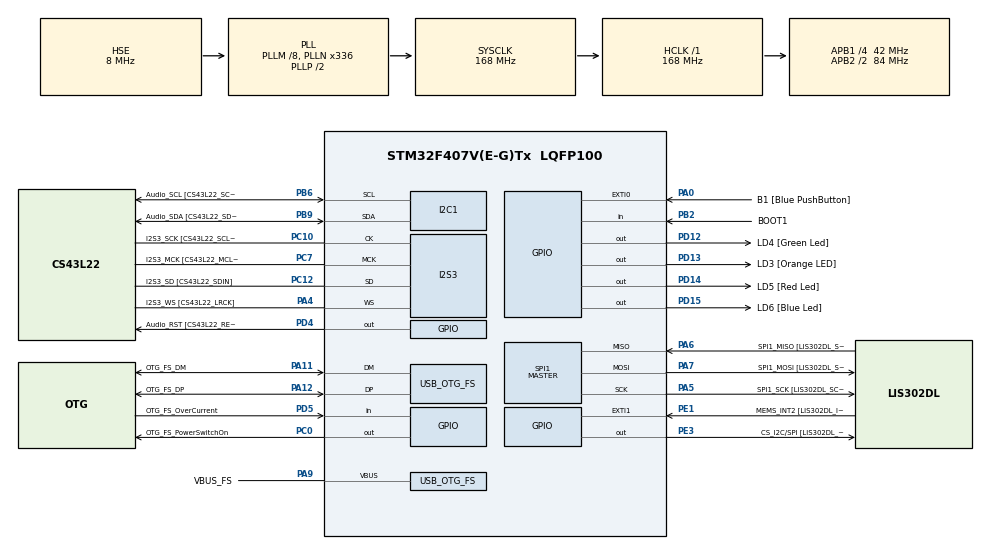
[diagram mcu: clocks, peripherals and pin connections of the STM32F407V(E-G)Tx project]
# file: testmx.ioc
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I2S3.AudioFreq-Half_Duplex_Master=I2S_AUDIOFREQ_96K
I2S3.ErrorAudioFreq=-2.34 %
I2S3.ErrorAudioFreq-Half_Duplex_Master=0.8 %
I2S3.FullDuplexMode=I2S_FULLDUPLEXMODE_DISABLE
I2S3.Instance=SPI$Index
I2S3.RealAudioFreq=93.75 KHz
I2S3.RealAudioFreq-Half_Duplex_Master=96.774 KHz
I2S3.VirtualMode=I2S_MODE_MASTER
Mcu.Family=STM32F4
Mcu.Name=STM32F407V(E-G)Tx
Mcu.Package=LQFP100
NVIC.OTG_FS_IRQn=true\:0\:0\:false\:false\:true\:true
NVIC.PriorityGroup=NVIC_PRIORITYGROUP_0
PA0-WKUP.GPIO_Label=B1 [Blue PushButton]
PA0-WKUP.GPIO_ModeDefaultEXTI=GPIO_MODE_EVT_RISING
PA0-WKUP.GPIO_PuPd=GPIO_NOPULL
PA0-WKUP.Signal=GPXTI0
PA10.GPIO_Label=OTG_FS_ID
PA10.GPIO_Mode=GPIO_MODE_AF_PP
PA10.GPIO_PuPd=GPIO_NOPULL
PA10.GPIO_Speed=GPIO_SPEED_FREQ_LOW
PA10.Signal=USB_OTG_FS_ID
PA11.GPIO_Label=OTG_FS_DM
PA11.GPIO_Mode=GPIO_MODE_AF_PP
PA11.GPIO_PuPd=GPIO_NOPULL
PA11.GPIO_Speed=GPIO_SPEED_FREQ_LOW
PA11.Mode=Device_Only
PA11.Signal=USB_OTG_FS_DM
PA12.GPIO_Label=OTG_FS_DP
PA12.GPIO_Mode=GPIO_MODE_AF_PP
PA12.GPIO_PuPd=GPIO_NOPULL
PA12.GPIO_Speed=GPIO_SPEED_FREQ_LOW
PA12.Mode=Device_Only
PA12.Signal=USB_OTG_FS_DP
PA13.GPIO_Label=SWDIO
PA13.Mode=Serial_Wire
PA13.Signal=SYS_JTMS-SWDIO
PA14.GPIO_Label=SWCLK
PA14.Mode=Serial_Wire
PA14.Signal=SYS_JTCK-SWCLK
PA4.GPIO_Label=I2S3_WS [CS43L22_LRCK]
PA4.GPIO_Mode=GPIO_MODE_AF_PP
PA4.GPIO_PuPd=GPIO_NOPULL
PA4.GPIO_Speed=GPIO_SPEED_FREQ_LOW
PA4.Mode=Half_Duplex_Master
PA4.Signal=I2S3_WS
PA5.GPIO_Label=SPI1_SCK [LIS302DL_SCL/SPC]
PA5.GPIO_Mode=GPIO_MODE_AF_PP
PA5.GPIO_PuPd=GPIO_NOPULL
PA5.GPIO_Speed=GPIO_SPEED_FREQ_LOW
PA5.Mode=Full_Duplex_Master
PA5.Signal=SPI1_SCK
PA6.GPIO_Label=SPI1_MISO [LIS302DL_SDO]
PA6.GPIO_Mode=GPIO_MODE_AF_PP
PA6.GPIO_PuPd=GPIO_NOPULL
PA6.GPIO_Speed=GPIO_SPEED_FREQ_LOW
PA6.Mode=Full_Duplex_Master
PA6.Signal=SPI1_MISO
PA7.GPIO_Label=SPI1_MOSI [LIS302DL_SDA/SDI/SDO]
PA7.GPIO_Mode=GPIO_MODE_AF_PP
PA7.GPIO_PuPd=GPIO_NOPULL
PA7.GPIO_Speed=GPIO_SPEED_FREQ_LOW
PA7.Mode=Full_Duplex_Master
PA7.Signal=SPI1_MOSI
PA9.GPIO_Label=VBUS_FS
PA9.GPIO_Mode=GPIO_MODE_INPUT
PA9.GPIO_PuPd=GPIO_NOPULL
PA9.Mode=Activate_VBUS
PA9.Signal=USB_OTG_FS_VBUS
PB10.GPIO_Label=CLK_IN [MP45DT02_CLK]
PB10.GPIO_Mode=GPIO_MODE_AF_PP
PB10.GPIO_PuPd=GPIO_NOPULL
PB10.GPIO_Speed=GPIO_SPEED_FREQ_LOW
PB10.Signal=I2S2_CK
PB2.GPIO_Label=BOOT1
PB2.GPIO_Mode=GPIO_MODE_INPUT
PB2.GPIO_PuPd=GPIO_NOPULL
PB2.Signal=GPIO_Input
PB3.GPIO_Label=SWO
PB3.Signal=SYS_JTDO-SWO
PB6.GPIO_Label=Audio_SCL [CS43L22_SCL]
PB6.GPIO_Mode=GPIO_MODE_AF_OD
PB6.GPIO_PuPd=GPIO_NOPULL
PB6.GPIO_Speed=GPIO_SPEED_FREQ_LOW
PB6.Mode=I2C
PB6.Signal=I2C1_SCL
PB9.GPIO_Label=Audio_SDA [CS43L22_SDA]
PB9.GPIO_Mode=GPIO_MODE_AF_OD
PB9.GPIO_PuPd=GPIO_NOPULL
PB9.GPIO_Speed=GPIO_SPEED_FREQ_LOW
PB9.Mode=I2C
PB9.Signal=I2C1_SDA
PC0.GPIO_Label=OTG_FS_PowerSwitchOn
PC0.GPIO_PuPd=GPIO_NOPULL
PC0.GPIO_Speed=GPIO_SPEED_FREQ_LOW
PC0.PinState=GPIO_PIN_SET
PC0.Signal=GPIO_Output
PC10.GPIO_Label=I2S3_SCK [CS43L22_SCLK]
PC10.GPIO_Mode=GPIO_MODE_AF_PP
PC10.GPIO_PuPd=GPIO_NOPULL
PC10.GPIO_Speed=GPIO_SPEED_FREQ_LOW
PC10.Mode=Half_Duplex_Master
PC10.Signal=I2S3_CK
PC12.GPIO_Label=I2S3_SD [CS43L22_SDIN]
PC12.GPIO_Mode=GPIO_MODE_AF_PP
PC12.GPIO_PuPd=GPIO_NOPULL
PC12.GPIO_Speed=GPIO_SPEED_FREQ_LOW
PC12.Mode=Half_Duplex_Master
PC12.Signal=I2S3_SD
PC14-OSC32_IN.GPIO_Label=PC14-OSC32_IN
PC14-OSC32_IN.Mode=LSE-External-Oscillator
PC14-OSC32_IN.Signal=RCC_OSC32_IN
PC15-OSC32_OUT.GPIO_Label=PC15-OSC32_OUT
PC15-OSC32_OUT.Mode=LSE-External-Oscillator
PC15-OSC32_OUT.Signal=RCC_OSC32_OUT
PC3.GPIO_Label=PDM_OUT [MP45DT02_DOUT]
PC3.GPIO_Mode=GPIO_MODE_AF_PP
PC3.GPIO_PuPd=GPIO_NOPULL
PC3.GPIO_Speed=GPIO_SPEED_FREQ_LOW
PC3.Signal=I2S2_SD
PC7.GPIO_Label=I2S3_MCK [CS43L22_MCLK]
PC7.GPIO_Mode=GPIO_MODE_AF_PP
PC7.GPIO_PuPd=GPIO_NOPULL
PC7.GPIO_Speed=GPIO_SPEED_FREQ_LOW
PC7.Mode=Master_Clock_Activated
PC7.Signal=I2S3_MCK
PD12.GPIO_Label=LD4 [Green Led]
PD12.GPIO_PuPd=GPIO_NOPULL
PD12.GPIO_Speed=GPIO_SPEED_FREQ_LOW
PD12.Signal=GPIO_Output
PD13.GPIO_Label=LD3 [Orange LED]
PD13.GPIO_PuPd=GPIO_PULLUP
PD13.Signal=GPIO_Output
PD14.GPIO_Label=LD5 [Red Led]
PD14.GPIO_PuPd=GPIO_NOPULL
PD14.GPIO_Speed=GPIO_SPEED_FREQ_LOW
PD14.Signal=GPIO_Output
PD15.GPIO_Label=LD6 [Blue Led]
PD15.GPIO_PuPd=GPIO_NOPULL
PD15.GPIO_Speed=GPIO_SPEED_FREQ_LOW
PD15.Signal=GPIO_Output
PD4.GPIO_Label=Audio_RST [CS43L22_RESET]
PD4.GPIO_PuPd=GPIO_NOPULL
PD4.GPIO_Speed=GPIO_SPEED_FREQ_LOW
PD4.Signal=GPIO_Output
PD5.GPIO_Label=OTG_FS_OverCurrent
PD5.GPIO_Mode=GPIO_MODE_INPUT
PD5.GPIO_PuPd=GPIO_NOPULL
PD5.Signal=GPIO_Input
PE1.GPIO_Label=MEMS_INT2 [LIS302DL_INT2]
PE1.GPIO_ModeDefaultEXTI=GPIO_MODE_EVT_RISING
PE1.GPIO_PuPd=GPIO_NOPULL
PE1.Signal=GPXTI1
PE3.GPIO_Label=CS_I2C/SPI [LIS302DL_CS_I2C/SPI]
PE3.GPIO_PuPd=GPIO_NOPULL
PE3.GPIO_Speed=GPIO_SPEED_FREQ_LOW
PE3.Signal=GPIO_Output
PH0-OSC_IN.GPIO_Label=PH0-OSC_IN
PH0-OSC_IN.Mode=HSE-External-Oscillator
PH0-OSC_IN.Signal=RCC_OSC_IN
PH1-OSC_OUT.GPIO_Label=PH1-OSC_OUT
PH1-OSC_OUT.Mode=HSE-External-Oscillator
PH1-OSC_OUT.Signal=RCC_OSC_OUT
ProjectManager.HeapSize=0x200
ProjectManager.StackSize=0x400
ProjectManager.TargetToolchain=SW4STM32
RCC.48MHZClocksFreq_Value=48000000
RCC.AHBFreq_Value=168000000
RCC.APB1CLKDivider=RCC_HCLK_DIV4
RCC.APB1Freq_Value=42000000
RCC.APB1TimFreq_Value=84000000
RCC.APB2CLKDivider=RCC_HCLK_DIV2
RCC.APB2Freq_Value=84000000
RCC.APB2TimFreq_Value=168000000
RCC.CortexFreq_Value=168000000
RCC.HCLKFreq_Value=168000000
RCC.HSE_VALUE=8000000
RCC.HSI_VALUE=16000000
RCC.PLLM=8
RCC.PLLN=336
RCC.PLLQ=7
RCC.SYSCLKFreq_VALUE=168000000
RCC.SYSCLKSource=RCC_SYSCLKSOURCE_PLLCLK
RCC.VCOOutputFreq_Value=336000000
SPI1.BaudRatePrescaler-Full_Duplex_Master=SPI_BAUDRATEPRESCALER_2
SPI1.CalculateBaudRate-Full_Duplex_Master=42.0 MBits/s
SPI1.Direction=SPI_DIRECTION_2LINES
SPI1.Mode=SPI_MODE_MASTER
SPI1.Mode-Full_Duplex_Master=SPI_MODE_MASTER
SPI1.VirtualType=VM_MASTER
USB_DEVICE.CLASS_NAME_FS=CUSTOMHID
USB_DEVICE.VirtualMode-CUSTOM_HID_FS=CustomHid
USB_DEVICE.VirtualModeFS=Custom_Hid_FS
USB_OTG_FS.VirtualMode=Device_Only
VP_USB_DEVICE_VS_USB_DEVICE_CUSTOM_HID_FS.Mode=CUSTOM_HID_FS
board=STM32F4DISCOVERY

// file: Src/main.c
/**
  ******************************************************************************
  * @file           : main.c
  * @brief          : Main program body
  ******************************************************************************
  * This notice applies to any and all portions of this file
  * that are not between comment pairs USER CODE BEGIN and
  * USER CODE END. Other portions of this file, whether
  * inserted by the user or by software development tools
  * are owned by their respective copyright owners.
  *
  * Copyright (c) 2018 STMicroelectronics International N.V.
  * All rights reserved.
  *
  * Redistribution and use in source and binary forms, with or without
  * modification, are permitted, provided that the following conditions are met:
  *
  * 1. Redistribution of source code must retain the above copyright notice,
  *    this list of conditions and the following disclaimer.
  * 2. Redistributions in binary form must reproduce the above copyright notice,
  *    this list of conditions and the following disclaimer in the documentation
  *    and/or other materials provided with the distribution.
  * 3. Neither the name of STMicroelectronics nor the names of other
  *    contributors to this software may be used to endorse or promote products
  *    derived from this software without specific written permission.
  * 4. This software, including modifications and/or derivative works of this
  *    software, must execute solely and exclusively on microcontroller or
  *    microprocessor devices manufactured by or for STMicroelectronics.
  * 5. Redistribution and use of this software other than as permitted under
  *    this license is void and will automatically terminate your rights under
  *    this license.
  *
  * THIS SOFTWARE IS PROVIDED BY STMICROELECTRONICS AND CONTRIBUTORS "AS IS"
  * AND ANY EXPRESS, IMPLIED OR STATUTORY WARRANTIES, INCLUDING, BUT NOT
  * LIMITED TO, THE IMPLIED WARRANTIES OF MERCHANTABILITY, FITNESS FOR A
  * PARTICULAR PURPOSE AND NON-INFRINGEMENT OF THIRD PARTY INTELLECTUAL PROPERTY
  * RIGHTS ARE DISCLAIMED TO THE FULLEST EXTENT PERMITTED BY LAW. IN NO EVENT
  * SHALL STMICROELECTRONICS OR CONTRIBUTORS BE LIABLE FOR ANY DIRECT, INDIRECT,
  * INCIDENTAL, SPECIAL, EXEMPLARY, OR CONSEQUENTIAL DAMAGES (INCLUDING, BUT NOT
  * LIMITED TO, PROCUREMENT OF SUBSTITUTE GOODS OR SERVICES; LOSS OF USE, DATA,
  * OR PROFITS; OR BUSINESS INTERRUPTION) HOWEVER CAUSED AND ON ANY THEORY OF
  * LIABILITY, WHETHER IN CONTRACT, STRICT LIABILITY, OR TORT (INCLUDING
  * NEGLIGENCE OR OTHERWISE) ARISING IN ANY WAY OUT OF THE USE OF THIS SOFTWARE,
  * EVEN IF ADVISED OF THE POSSIBILITY OF SUCH DAMAGE.
  *
  ******************************************************************************
  */
#include "main.h"
#include "stm32f4xx_hal.h"
#include "i2c.h"
#include "i2s.h"
#include "spi.h"
#include "usb_device.h"
#include "gpio.h"

/* USER CODE BEGIN Includes */
#include "stdbool.h"

/* USER CODE END Includes */

/* USER CODE BEGIN PV */
/* Private variables ---------------------------------------------------------*/

/* USER CODE END PV */

void SystemClock_Config(void);

/* USER CODE BEGIN PFP */
/* Private function prototypes -----------------------------------------------*/

/* USER CODE END PFP */

int main(void)
{

  /* MCU Configuration----------------------------------------------------------*/

  /* Reset of all peripherals, Initializes the Flash interface and the Systick. */
  HAL_Init();

  /* Configure the system clock */
  SystemClock_Config();

  /* Initialize all configured peripherals */
  MX_GPIO_Init();
  MX_I2C1_Init();
  MX_I2S3_Init();
  MX_SPI1_Init();
  MX_USB_DEVICE_Init();

  /* Infinite loop */
  /* USER CODE BEGIN WHILE */
  bool b1Pressed = false;
  while (1)
  {

  /* USER CODE END WHILE */

  /* USER CODE BEGIN 3 */
    GPIO_PinState b1State = HAL_GPIO_ReadPin(B1_GPIO_Port, B1_Pin);

    // Send HID report

    if(b1State == GPIO_PIN_SET && !b1Pressed) {
    	b1Pressed = true;
    	HAL_GPIO_WritePin(LD3_GPIO_Port, LD3_Pin, GPIO_PIN_SET);
    	HAL_Delay(200);
    	HAL_GPIO_WritePin(LD3_GPIO_Port, LD3_Pin, GPIO_PIN_RESET);
    	HAL_GPIO_WritePin(LD4_GPIO_Port, LD4_Pin, GPIO_PIN_SET);
    	HAL_Delay(200);
    	HAL_GPIO_WritePin(LD4_GPIO_Port, LD4_Pin, GPIO_PIN_RESET);
    	HAL_GPIO_WritePin(LD6_GPIO_Port, LD6_Pin, GPIO_PIN_SET);
    	HAL_Delay(200);
    	HAL_GPIO_WritePin(LD6_GPIO_Port, LD6_Pin, GPIO_PIN_RESET);
    	HAL_GPIO_WritePin(LD5_GPIO_Port, LD5_Pin, GPIO_PIN_SET);
    	HAL_Delay(200);
    	HAL_GPIO_WritePin(LD5_GPIO_Port, LD5_Pin, GPIO_PIN_RESET);
    } else {
    	b1Pressed = false;
        HAL_GPIO_WritePin(LD3_GPIO_Port, LD3_Pin, GPIO_PIN_RESET);
    }
  }
  /* USER CODE END 3 */

}

void SystemClock_Config(void)
{

  RCC_OscInitTypeDef RCC_OscInitStruct;
  RCC_ClkInitTypeDef RCC_ClkInitStruct;
  RCC_PeriphCLKInitTypeDef PeriphClkInitStruct;

    /**Configure the main internal regulator output voltage
    */
  __HAL_RCC_PWR_CLK_ENABLE();

  __HAL_PWR_VOLTAGESCALING_CONFIG(PWR_REGULATOR_VOLTAGE_SCALE1);

    /**Initializes the CPU, AHB and APB busses clocks
    */
  RCC_OscInitStruct.OscillatorType = RCC_OSCILLATORTYPE_HSE;
  RCC_OscInitStruct.HSEState = RCC_HSE_ON;
  RCC_OscInitStruct.PLL.PLLState = RCC_PLL_ON;
  RCC_OscInitStruct.PLL.PLLSource = RCC_PLLSOURCE_HSE;
  RCC_OscInitStruct.PLL.PLLM = 8;
  RCC_OscInitStruct.PLL.PLLN = 336;
  RCC_OscInitStruct.PLL.PLLP = RCC_PLLP_DIV2;
  RCC_OscInitStruct.PLL.PLLQ = 7;
  if (HAL_RCC_OscConfig(&RCC_OscInitStruct) != HAL_OK)
  {
    _Error_Handler(__FILE__, __LINE__);
  }

    /**Initializes the CPU, AHB and APB busses clocks
    */
  RCC_ClkInitStruct.ClockType = RCC_CLOCKTYPE_HCLK|RCC_CLOCKTYPE_SYSCLK
                              |RCC_CLOCKTYPE_PCLK1|RCC_CLOCKTYPE_PCLK2;
  RCC_ClkInitStruct.SYSCLKSource = RCC_SYSCLKSOURCE_PLLCLK;
  RCC_ClkInitStruct.AHBCLKDivider = RCC_SYSCLK_DIV1;
  RCC_ClkInitStruct.APB1CLKDivider = RCC_HCLK_DIV4;
  RCC_ClkInitStruct.APB2CLKDivider = RCC_HCLK_DIV2;

  if (HAL_RCC_ClockConfig(&RCC_ClkInitStruct, FLASH_LATENCY_5) != HAL_OK)
  {
    _Error_Handler(__FILE__, __LINE__);
  }

  PeriphClkInitStruct.PeriphClockSelection = RCC_PERIPHCLK_I2S;
  PeriphClkInitStruct.PLLI2S.PLLI2SN = 192;
  PeriphClkInitStruct.PLLI2S.PLLI2SR = 2;
  if (HAL_RCCEx_PeriphCLKConfig(&PeriphClkInitStruct) != HAL_OK)
  {
    _Error_Handler(__FILE__, __LINE__);
  }

    /**Configure the Systick interrupt time
    */
  HAL_SYSTICK_Config(HAL_RCC_GetHCLKFreq()/1000);

    /**Configure the Systick
    */
  HAL_SYSTICK_CLKSourceConfig(SYSTICK_CLKSOURCE_HCLK);

  /* SysTick_IRQn interrupt configuration */
  HAL_NVIC_SetPriority(SysTick_IRQn, 0, 0);
}

void _Error_Handler(char *file, int line)
{
  while(1)
  {
  }
}

/************************ (C) COPYRIGHT STMicroelectronics *****END OF FILE****/
